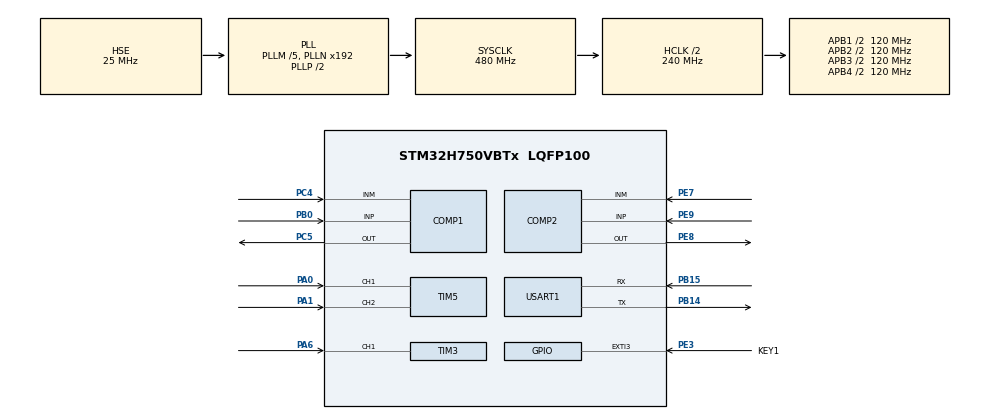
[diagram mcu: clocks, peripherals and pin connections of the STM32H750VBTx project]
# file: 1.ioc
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COMP1.Hysteresis=COMP_HYSTERESIS_HIGH
COMP1.TriggerMode=COMP_TRIGGERMODE_IT_RISING
COMP2.Hysteresis=COMP_HYSTERESIS_MEDIUM
COMP2.TriggerMode=COMP_TRIGGERMODE_IT_RISING
CORTEX_M7.AccessPermission-Cortex_Memory_Protection_Unit_Region0_Settings=MPU_REGION_FULL_ACCESS
CORTEX_M7.AccessPermission-Cortex_Memory_Protection_Unit_Region1_Settings=MPU_REGION_FULL_ACCESS
CORTEX_M7.AccessPermission-Cortex_Memory_Protection_Unit_Region2_Settings=MPU_REGION_FULL_ACCESS
CORTEX_M7.AccessPermission-Cortex_Memory_Protection_Unit_Region3_Settings=MPU_REGION_FULL_ACCESS
CORTEX_M7.AccessPermission-Cortex_Memory_Protection_Unit_Region4_Settings=MPU_REGION_FULL_ACCESS
CORTEX_M7.BaseAddress-Cortex_Memory_Protection_Unit_Region0_Settings=0x24000000
CORTEX_M7.BaseAddress-Cortex_Memory_Protection_Unit_Region1_Settings=0x30000000
CORTEX_M7.BaseAddress-Cortex_Memory_Protection_Unit_Region2_Settings=0x30020000
CORTEX_M7.BaseAddress-Cortex_Memory_Protection_Unit_Region3_Settings=0x30040000
CORTEX_M7.BaseAddress-Cortex_Memory_Protection_Unit_Region4_Settings=0x38000000
CORTEX_M7.CPU_DCache=Enabled
CORTEX_M7.CPU_ICache=Enabled
CORTEX_M7.Enable-Cortex_Memory_Protection_Unit_Region0_Settings=MPU_REGION_ENABLE
CORTEX_M7.Enable-Cortex_Memory_Protection_Unit_Region1_Settings=MPU_REGION_ENABLE
CORTEX_M7.Enable-Cortex_Memory_Protection_Unit_Region2_Settings=MPU_REGION_ENABLE
CORTEX_M7.Enable-Cortex_Memory_Protection_Unit_Region3_Settings=MPU_REGION_ENABLE
CORTEX_M7.Enable-Cortex_Memory_Protection_Unit_Region4_Settings=MPU_REGION_ENABLE
CORTEX_M7.IsBufferable-Cortex_Memory_Protection_Unit_Region0_Settings=MPU_ACCESS_BUFFERABLE
CORTEX_M7.IsCacheable-Cortex_Memory_Protection_Unit_Region0_Settings=MPU_ACCESS_CACHEABLE
CORTEX_M7.MPU_Control=MPU_PRIVILEGED_DEFAULT
CORTEX_M7.Size-Cortex_Memory_Protection_Unit_Region0_Settings=MPU_REGION_SIZE_512KB
CORTEX_M7.Size-Cortex_Memory_Protection_Unit_Region1_Settings=MPU_REGION_SIZE_128KB
CORTEX_M7.Size-Cortex_Memory_Protection_Unit_Region2_Settings=MPU_REGION_SIZE_128KB
CORTEX_M7.Size-Cortex_Memory_Protection_Unit_Region3_Settings=MPU_REGION_SIZE_32KB
CORTEX_M7.Size-Cortex_Memory_Protection_Unit_Region4_Settings=MPU_REGION_SIZE_64KB
CORTEX_M7.TypeExtField-Cortex_Memory_Protection_Unit_Region0_Settings=MPU_TEX_LEVEL1
CORTEX_M7.TypeExtField-Cortex_Memory_Protection_Unit_Region1_Settings=MPU_TEX_LEVEL1
CORTEX_M7.TypeExtField-Cortex_Memory_Protection_Unit_Region2_Settings=MPU_TEX_LEVEL1
CORTEX_M7.TypeExtField-Cortex_Memory_Protection_Unit_Region3_Settings=MPU_TEX_LEVEL1
CORTEX_M7.TypeExtField-Cortex_Memory_Protection_Unit_Region4_Settings=MPU_TEX_LEVEL1
Mcu.Family=STM32H7
Mcu.Name=STM32H750VBTx
Mcu.Package=LQFP100
NVIC.COMP_IRQn=true\:0\:0\:false\:false\:true\:false\:true\:true
NVIC.EXTI3_IRQn=true\:0\:0\:false\:false\:true\:true\:true\:true
NVIC.PriorityGroup=NVIC_PRIORITYGROUP_4
NVIC.TIM3_IRQn=true\:0\:0\:false\:false\:true\:true\:true\:true
NVIC.TIM5_IRQn=true\:0\:0\:false\:false\:true\:true\:true\:true
NVIC.TIM6_DAC_IRQn=true\:0\:0\:false\:false\:true\:true\:true\:true
PA0.Signal=S_TIM5_CH1
PA1.Signal=S_TIM5_CH2
PA13\ (JTMS/SWDIO).Mode=Serial_Wire
PA13\ (JTMS/SWDIO).Signal=DEBUG_JTMS-SWDIO
PA14\ (JTCK/SWCLK).Mode=Serial_Wire
PA14\ (JTCK/SWCLK).Signal=DEBUG_JTCK-SWCLK
PA6.Signal=S_TIM3_CH1
PB0.Mode=INP
PB0.Signal=COMP1_INP
PB14.Mode=Asynchronous
PB14.Signal=USART1_TX
PB15.Mode=Asynchronous
PB15.Signal=USART1_RX
PC4.Mode=INM
PC4.Signal=COMP1_INM
PC5.Mode=ExternalOutput
PC5.Signal=COMP1_OUT
PE3.GPIO_Label=KEY1
PE3.GPIO_ModeDefaultEXTI=GPIO_MODE_IT_FALLING
PE3.GPIO_PuPd=GPIO_PULLUP
PE3.Signal=GPXTI3
PE7.Mode=INM
PE7.Signal=COMP2_INM
PE8.Mode=ExternalOutput
PE8.Signal=COMP2_OUT
PE9.Mode=INP
PE9.Signal=COMP2_INP
PH0-OSC_IN\ (PH0).Mode=HSE-External-Oscillator
PH0-OSC_IN\ (PH0).Signal=RCC_OSC_IN
PH1-OSC_OUT\ (PH1).Mode=HSE-External-Oscillator
PH1-OSC_OUT\ (PH1).Signal=RCC_OSC_OUT
ProjectManager.HeapSize=0x200
ProjectManager.StackSize=0x7400
ProjectManager.TargetToolchain=MDK-ARM V5.32
RCC.ADCFreq_Value=50390625
RCC.APB1Freq_Value=120000000
RCC.APB2Freq_Value=120000000
RCC.APB3Freq_Value=120000000
RCC.APB4Freq_Value=120000000
RCC.CortexFreq_Value=480000000
RCC.D1PPRE=RCC_APB3_DIV2
RCC.D2PPRE1=RCC_APB1_DIV2
RCC.D2PPRE2=RCC_APB2_DIV2
RCC.D3PPRE=RCC_APB4_DIV2
RCC.DIVM1=5
RCC.DIVN1=192
RCC.HCLKFreq_Value=240000000
RCC.HPRE=RCC_HCLK_DIV2
RCC.PLLSourceVirtual=RCC_PLLSOURCE_HSE
RCC.ProductRev=revV
RCC.SYSCLKFreq_VALUE=480000000
RCC.SYSCLKSource=RCC_SYSCLKSOURCE_PLLCLK
RCC.USBFreq_Value=480000000
SH.S_TIM3_CH1.0=TIM3_CH1,Input_Capture1_from_TI1
SH.S_TIM5_CH1.0=TIM5_CH1,Input_Capture1_from_TI1
SH.S_TIM5_CH2.0=TIM5_CH2,Input_Capture2_from_TI2
TIM3.Channel-Input_Capture1_from_TI1=TIM_CHANNEL_1
TIM3.Prescaler=240-1
TIM5.Channel-Input_Capture1_from_TI1=TIM_CHANNEL_1
TIM5.Channel-Input_Capture2_from_TI2=TIM_CHANNEL_2
TIM6.Period=10000-1
TIM6.Prescaler=24000-1
TIM7.Prescaler=239
USART1.VirtualMode-Asynchronous=VM_ASYNC
VP_TIM2_VS_ClockSourceINT.Mode=Internal
VP_TIM3_VS_ClockSourceINT.Mode=Internal
VP_TIM5_VS_ClockSourceINT.Mode=Internal
VP_TIM6_VS_ClockSourceINT.Mode=Enable_Timer
VP_TIM7_VS_ClockSourceINT.Mode=Enable_Timer
board=custom

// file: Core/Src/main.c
/* USER CODE BEGIN Header */
/**
  ******************************************************************************
  * @file           : main.c
  * @brief          : Main program body
  ******************************************************************************
  * @attention
  *
  * Copyright (c) 2023 STMicroelectronics.
  * All rights reserved.
  *
  * This software is licensed under terms that can be found in the LICENSE file
  * in the root directory of this software component.
  * If no LICENSE file comes with this software, it is provided AS-IS.
  *
  ******************************************************************************
  */
/* USER CODE END Header */
#include "main.h"
#include "comp.h"
#include "tim.h"
#include "usart.h"
#include "gpio.h"

/* USER CODE BEGIN PD */
uint16_t GATE_OPEN,GATE_READY2CLOSE;
uint32_t Nx,Nb;
uint8_t Fre_State=LOW_FREQUENCY;	//默认低频
double fre;
uint8_t KEY_State=1;//1测频2测时
uint8_t Flag=0;
uint32_t	CH1=0;
uint32_t	CH2=0;
uint32_t Delta=0;

double DeltaT=0.0;
double DeltaT_temp=0.0;
double DeltaT_tran=0.0;
double WC_Time=0.0;
/* USER CODE END PD */

void SystemClock_Config(void);
static void MPU_Initialize(void);
static void MPU_Config(void);
/* USER CODE BEGIN PFP */
void Parameter_Init(void);
void Turn2HIGH_FREQUENCY_MODE(void);
void Turn2LOW_FREQUENCY_MODE(void);
void MX_TIM3_Init_ETR(void);
void MX_COMP1_Init_HighFre(void);

/* USER CODE END PFP */

int main(void)
{

  /* Enable I-Cache---------------------------------------------------------*/
  SCB_EnableICache();

  /* Enable D-Cache---------------------------------------------------------*/
  SCB_EnableDCache();

  /* MCU Configuration--------------------------------------------------------*/

  /* Reset of all peripherals, Initializes the Flash interface and the Systick. */
  HAL_Init();

  /* MPU Configuration--------------------------------------------------------*/
  MPU_Config();

  /* Configure the system clock */
  SystemClock_Config();

  /* Initialize all configured peripherals */
  MX_GPIO_Init();
  MX_TIM7_Init();
  MX_USART1_UART_Init();
  MX_COMP1_Init();
  MX_TIM2_Init();
  MX_TIM3_Init();
  MX_TIM6_Init();
  MX_COMP2_Init();
  MX_TIM5_Init();
  /* USER CODE BEGIN 2 */
	Parameter_Init();
	printf("\nstart\n");

	HAL_COMP_Start(&hcomp1);
	HAL_COMP_Start(&hcomp2);

	HAL_TIM_IC_Start_IT(&htim5,TIM_CHANNEL_1);
	HAL_TIM_IC_Start_IT(&htim5,TIM_CHANNEL_2);

	HAL_TIM_IC_Start_IT(&htim3, TIM_CHANNEL_1);    //启动T3输入捕获

  /* USER CODE END 2 */

  /* Infinite loop */
  while (1)
  {

  }
}

void SystemClock_Config(void)
{
  RCC_OscInitTypeDef RCC_OscInitStruct = {0};
  RCC_ClkInitTypeDef RCC_ClkInitStruct = {0};

  /** Supply configuration update enable
  */
  HAL_PWREx_ConfigSupply(PWR_LDO_SUPPLY);

  /** Configure the main internal regulator output voltage
  */
  __HAL_PWR_VOLTAGESCALING_CONFIG(PWR_REGULATOR_VOLTAGE_SCALE1);

  while(!__HAL_PWR_GET_FLAG(PWR_FLAG_VOSRDY)) {}

  __HAL_RCC_SYSCFG_CLK_ENABLE();
  __HAL_PWR_VOLTAGESCALING_CONFIG(PWR_REGULATOR_VOLTAGE_SCALE0);

  while(!__HAL_PWR_GET_FLAG(PWR_FLAG_VOSRDY)) {}

  /** Initializes the RCC Oscillators according to the specified parameters
  * in the RCC_OscInitTypeDef structure.
  */
  RCC_OscInitStruct.OscillatorType = RCC_OSCILLATORTYPE_HSE;
  RCC_OscInitStruct.HSEState = RCC_HSE_ON;
  RCC_OscInitStruct.PLL.PLLState = RCC_PLL_ON;
  RCC_OscInitStruct.PLL.PLLSource = RCC_PLLSOURCE_HSE;
  RCC_OscInitStruct.PLL.PLLM = 5;
  RCC_OscInitStruct.PLL.PLLN = 192;
  RCC_OscInitStruct.PLL.PLLP = 2;
  RCC_OscInitStruct.PLL.PLLQ = 2;
  RCC_OscInitStruct.PLL.PLLR = 2;
  RCC_OscInitStruct.PLL.PLLRGE = RCC_PLL1VCIRANGE_2;
  RCC_OscInitStruct.PLL.PLLVCOSEL = RCC_PLL1VCOWIDE;
  RCC_OscInitStruct.PLL.PLLFRACN = 0;
  if (HAL_RCC_OscConfig(&RCC_OscInitStruct) != HAL_OK)
  {
    Error_Handler();
  }

  /** Initializes the CPU, AHB and APB buses clocks
  */
  RCC_ClkInitStruct.ClockType = RCC_CLOCKTYPE_HCLK|RCC_CLOCKTYPE_SYSCLK
                              |RCC_CLOCKTYPE_PCLK1|RCC_CLOCKTYPE_PCLK2
                              |RCC_CLOCKTYPE_D3PCLK1|RCC_CLOCKTYPE_D1PCLK1;
  RCC_ClkInitStruct.SYSCLKSource = RCC_SYSCLKSOURCE_PLLCLK;
  RCC_ClkInitStruct.SYSCLKDivider = RCC_SYSCLK_DIV1;
  RCC_ClkInitStruct.AHBCLKDivider = RCC_HCLK_DIV2;
  RCC_ClkInitStruct.APB3CLKDivider = RCC_APB3_DIV2;
  RCC_ClkInitStruct.APB1CLKDivider = RCC_APB1_DIV2;
  RCC_ClkInitStruct.APB2CLKDivider = RCC_APB2_DIV2;
  RCC_ClkInitStruct.APB4CLKDivider = RCC_APB4_DIV2;

  if (HAL_RCC_ClockConfig(&RCC_ClkInitStruct, FLASH_LATENCY_4) != HAL_OK)
  {
    Error_Handler();
  }
}

/* USER CODE BEGIN 4 */

//初始化
void Parameter_Init(void)
{

	GATE_OPEN=0;
	GATE_READY2CLOSE=0;
	Nx=0;
	Nb=0;
	fre=0.0;
}

//输入捕获的中断回调函数
void HAL_TIM_IC_CaptureCallback(TIM_HandleTypeDef *htim)
{
	if(TIM3 == htim->Instance)
	{

		if(!GATE_OPEN)
		{
			//启动闸门 TIM6 开始计数标准信号
			__HAL_TIM_CLEAR_IT(&htim6, TIM_IT_UPDATE);
			HAL_TIM_Base_Start_IT(&htim6);
			HAL_TIM_Base_Start(&htim2);
			GATE_OPEN=1;
		}
		else
		{
			//测频中，捕捉到一次信号 输入计数值加1
			Nx++;

			//避免低频模式，输入频率过高，程序卡死
			if(Nx>20000)
			{
				HAL_TIM_Base_Stop(&htim2);
				HAL_TIM_IC_Stop_IT(&htim3, TIM_CHANNEL_1);
				HAL_TIM_Base_Stop_IT(&htim6);
				Turn2HIGH_FREQUENCY_MODE();
			}
		}

		if(GATE_OPEN&&GATE_READY2CLOSE)
		{
			//关闭闸门 停止捕捉
			HAL_TIM_Base_Stop(&htim2);
			HAL_TIM_IC_Stop_IT(&htim3, TIM_CHANNEL_1);
			HAL_TIM_Base_Stop_IT(&htim6);
			//锁存Nx Nb数据 计算频率值
			Nb=__HAL_TIM_GetCounter(&htim2);
			fre=((double)Nx)/((double)Nb)*240000000.0;
			//判断
			if(fre<10000.0)
			{
	//		  	// LCD显示
	//				LCD_Display();
//					printf("freL = %f\n",fre);

	//				HAL_Delay(500);

					//准备下一次测量
					Parameter_Init();
					__HAL_TIM_SetCounter(&htim2,0);  //注意！！！！！！！计数值不会因为定时器暂停而清零
					HAL_TIM_IC_Start_IT(&htim3, TIM_CHANNEL_1);    //启动输入捕获
			}
			else
			{
				Turn2HIGH_FREQUENCY_MODE();
			}
		}
	}

	if(htim->Instance==TIM5 )//TIM_5_用于计算时间间隔
		{
			if( htim->Channel == HAL_TIM_ACTIVE_CHANNEL_1 )
			{
				if(Flag==0)
				{
					Flag=1;
					CH1=HAL_TIM_ReadCapturedValue(htim,TIM_CHANNEL_1);
				}
			 }

			if( htim->Channel == HAL_TIM_ACTIVE_CHANNEL_2 )
			{
				if(Flag==1)
				{
					Flag=0;
					CH2=HAL_TIM_ReadCapturedValue(&htim5,TIM_CHANNEL_2);
					HAL_TIM_IC_Stop_IT(&htim5,TIM_CHANNEL_1);
					HAL_TIM_IC_Stop_IT(&htim5,TIM_CHANNEL_2);

					DeltaT_temp=DeltaT;
					Delta=CH2-CH1;
					DeltaT=Delta/240.0;
					WC_Time=(DeltaT-DeltaT_temp)/DeltaT;
					if((WC_Time<0.001)&&(WC_Time>-0.001))
					{
//						printf("WC_Time = %f	\n",WC_Time);
//						printf("DeltaT_temp = %f us\n",DeltaT_temp);
//						printf("DeltaT = %f us\n",DeltaT+0.006);
						DeltaT_tran=DeltaT;
					}
//					else
//					{
//					printf("wait\n");
//					}
					__HAL_TIM_SET_COUNTER(&htim5,0);
					HAL_TIM_IC_Start_IT(&htim5,TIM_CHANNEL_1);
					HAL_TIM_IC_Start_IT(&htim5,TIM_CHANNEL_2);
				}
			}
		}
}

//定时器触发的中断回调函数
void HAL_TIM_PeriodElapsedCallback(TIM_HandleTypeDef *htim)
{
	//闸门溢出 规定测量时间到
		if(TIM6 == htim->Instance&&Fre_State==LOW_FREQUENCY)
    {
			GATE_READY2CLOSE=1;
    }
		else if(TIM6 == htim->Instance&&Fre_State==HIGH_FREQUENCY)
    {
			HAL_TIM_Base_Stop_IT(&htim6);
			HAL_TIM_Base_Stop_IT(&htim3);
			HAL_TIM_Base_Stop(&htim2);
			Nx+=TIM3->CNT;
			Nb=TIM2->CNT;
	  	fre=((double)Nx)/((double)Nb)*240000000.0;
			if(Nx>=10000.0)
			{
				//显示
//			LCD_Display();

//			printf("freH = %f\n",fre);
//			HAL_Delay(500);

	    Parameter_Init();
	  	__HAL_TIM_SetCounter(&htim2,0);  //注意！！！！！！！计数值不会因为定时器暂停而清零
			__HAL_TIM_SetCounter(&htim3,0);  //注意！！！！！！！计数值不会因为定时器暂停而清零

			HAL_TIM_Base_Start_IT(&htim6);
			HAL_TIM_Base_Start_IT(&htim3);
			HAL_TIM_Base_Start(&htim2);
			}
			else
			{
				Turn2LOW_FREQUENCY_MODE();
			}
    }

		//溢出
		else if(TIM3 == htim->Instance&&Fre_State==HIGH_FREQUENCY)
    {
			Nx+=0xFFFF;
    }

}

//测高频
void Turn2HIGH_FREQUENCY_MODE(void)
{
		  Fre_State=HIGH_FREQUENCY;
			MX_TIM3_Init_ETR();
			MX_COMP1_Init_HighFre();
			Parameter_Init();
	  	__HAL_TIM_SetCounter(&htim2,0);  //注意！！！！！！！计数值不会因为定时器暂停而清零
			__HAL_TIM_SetCounter(&htim3,0);  //注意！！！！！！！计数值不会因为定时器暂停而清零

			HAL_TIM_Base_Start_IT(&htim6);
			HAL_TIM_Base_Start_IT(&htim3);
			HAL_TIM_Base_Start(&htim2);
}

//测低频
void Turn2LOW_FREQUENCY_MODE(void)
{
		Fre_State=LOW_FREQUENCY;
		MX_TIM3_Init();
		MX_COMP1_Init();
		Parameter_Init();
	  __HAL_TIM_SetCounter(&htim2,0);  //注意！！！！！！！计数值不会因为定时器暂停而清零
		HAL_TIM_IC_Start_IT(&htim3, TIM_CHANNEL_1);    //启动输入捕获
}

//按键中断
void HAL_GPIO_EXTI_Callback(uint16_t GPIO_Pin)
{
	if(GPIO_Pin == KEY1_Pin)
	{
		if(KEY_State==1)				//开3关5
		{
//			HAL_TIM_IC_Start_IT(&htim3, TIM_CHANNEL_1);    //启动T3输入捕获
//			HAL_TIM_IC_Stop_IT(&htim5,TIM_CHANNEL_1);
//			HAL_TIM_IC_Stop_IT(&htim5,TIM_CHANNEL_2);
//			HAL_TIM_Base_Stop_IT(&htim5);

			KEY_State=2;
//			printf("\nFre\n");
			int a0,a1;
			int b0,b1;
			double period;
			period=1.0/fre;
			//频率单位
			if(fre<=1000)
			{
				printf("t4.txt=\"Hz\"\xFF\xFF\xFF");
			}
			else if(fre<=1000000&&fre>1000)
			{
				printf("t4.txt=\"kHz\"\xFF\xFF\xFF");
				fre=fre/1000;
			}
			else if(fre>1000000)
			{
				printf("t4.txt=\"MHz\"\xFF\xFF\xFF");
				fre=fre/1000000;
			}
			//周期单位
			if(period>=1)
			{
				printf("t5.txt=\"s\"\xFF\xFF\xFF");
			}
			else if(period<1&&period>=0.001)
			{
				printf("t5.txt=\"ms\"\xFF\xFF\xFF");
				period=period*1000.0;
			}
			else if(period<0.001&&period>=0.000001)
			{
				printf("t5.txt=\"us\"\xFF\xFF\xFF");
				period=period*1000000.0;
			}
			a0=fre;
			a1=(fre-a0)*1000000;
			b0=period;
			b1=(period-b0)*1000000;
			printf("n0.val=%d\xFF\xFF\xFF",a0);
			printf("n1.val=%d\xFF\xFF\xFF",a1);
			printf("n2.val=%d\xFF\xFF\xFF",b0);
			printf("n5.val=%d\xFF\xFF\xFF",b1);
		}
		else if(KEY_State==2)		//开5关3
		{
//			HAL_TIM_IC_Start_IT(&htim5,TIM_CHANNEL_1);
//			HAL_TIM_IC_Start_IT(&htim5,TIM_CHANNEL_2);
//			HAL_TIM_IC_Stop_IT(&htim3, TIM_CHANNEL_1);    //关闭T3输入捕获
//			HAL_TIM_Base_Stop_IT(&htim6);
//			HAL_TIM_Base_Stop_IT(&htim3);
//			HAL_TIM_Base_Stop(&htim2);
//			MX_COMP1_Init();
//			MX_COMP2_Init();
			KEY_State=1;
//			printf("\nDeltaT\n");
			int c0,c1;
			if(DeltaT_tran>=1)
			{
				printf("t6.txt=\"s\"\xFF\xFF\xFF");
			}
			else if(DeltaT_tran<1&&DeltaT_tran>=0.001)
			{
				printf("t6.txt=\"ms\"\xFF\xFF\xFF");
				DeltaT_tran=DeltaT_tran*1000.0;
			}
			else if(DeltaT_tran<0.001&&DeltaT_tran>=0.000001)
			{
				printf("t6.txt=\"us\"\xFF\xFF\xFF");
				DeltaT_tran=DeltaT_tran*1000000.0;
			}
			c0=DeltaT_tran;
			c1=(DeltaT_tran-c0)*1000000;
			printf("n6.val=%d\xFF\xFF\xFF",c0);
			printf("n7.val=%d\xFF\xFF\xFF",c1);

		}
	}
}

/* USER CODE END 4 */

/* MPU Configuration */

void MPU_Config(void)
{
  MPU_Region_InitTypeDef MPU_InitStruct = {0};

  /* Disables the MPU */
  HAL_MPU_Disable();

  /** Initializes and configures the Region and the memory to be protected
  */
  MPU_InitStruct.Enable = MPU_REGION_ENABLE;
  MPU_InitStruct.Number = MPU_REGION_NUMBER0;
  MPU_InitStruct.BaseAddress = 0x24000000;
  MPU_InitStruct.Size = MPU_REGION_SIZE_512KB;
  MPU_InitStruct.SubRegionDisable = 0x0;
  MPU_InitStruct.TypeExtField = MPU_TEX_LEVEL1;
  MPU_InitStruct.AccessPermission = MPU_REGION_FULL_ACCESS;
  MPU_InitStruct.DisableExec = MPU_INSTRUCTION_ACCESS_ENABLE;
  MPU_InitStruct.IsShareable = MPU_ACCESS_NOT_SHAREABLE;
  MPU_InitStruct.IsCacheable = MPU_ACCESS_CACHEABLE;
  MPU_InitStruct.IsBufferable = MPU_ACCESS_BUFFERABLE;

  HAL_MPU_ConfigRegion(&MPU_InitStruct);

  /** Initializes and configures the Region and the memory to be protected
  */
  MPU_InitStruct.Number = MPU_REGION_NUMBER1;
  MPU_InitStruct.BaseAddress = 0x30000000;
  MPU_InitStruct.Size = MPU_REGION_SIZE_128KB;
  MPU_InitStruct.IsCacheable = MPU_ACCESS_NOT_CACHEABLE;
  MPU_InitStruct.IsBufferable = MPU_ACCESS_NOT_BUFFERABLE;

  HAL_MPU_ConfigRegion(&MPU_InitStruct);

  /** Initializes and configures the Region and the memory to be protected
  */
  MPU_InitStruct.Number = MPU_REGION_NUMBER2;
  MPU_InitStruct.BaseAddress = 0x30020000;

  HAL_MPU_ConfigRegion(&MPU_InitStruct);

  /** Initializes and configures the Region and the memory to be protected
  */
  MPU_InitStruct.Number = MPU_REGION_NUMBER3;
  MPU_InitStruct.BaseAddress = 0x30040000;
  MPU_InitStruct.Size = MPU_REGION_SIZE_32KB;

  HAL_MPU_ConfigRegion(&MPU_InitStruct);

  /** Initializes and configures the Region and the memory to be protected
  */
  MPU_InitStruct.Number = MPU_REGION_NUMBER4;
  MPU_InitStruct.BaseAddress = 0x38000000;
  MPU_InitStruct.Size = MPU_REGION_SIZE_64KB;

  HAL_MPU_ConfigRegion(&MPU_InitStruct);
  /* Enables the MPU */
  HAL_MPU_Enable(MPU_PRIVILEGED_DEFAULT);

}

void Error_Handler(void)
{
  __disable_irq();
  while (1)
  {
  }
}
